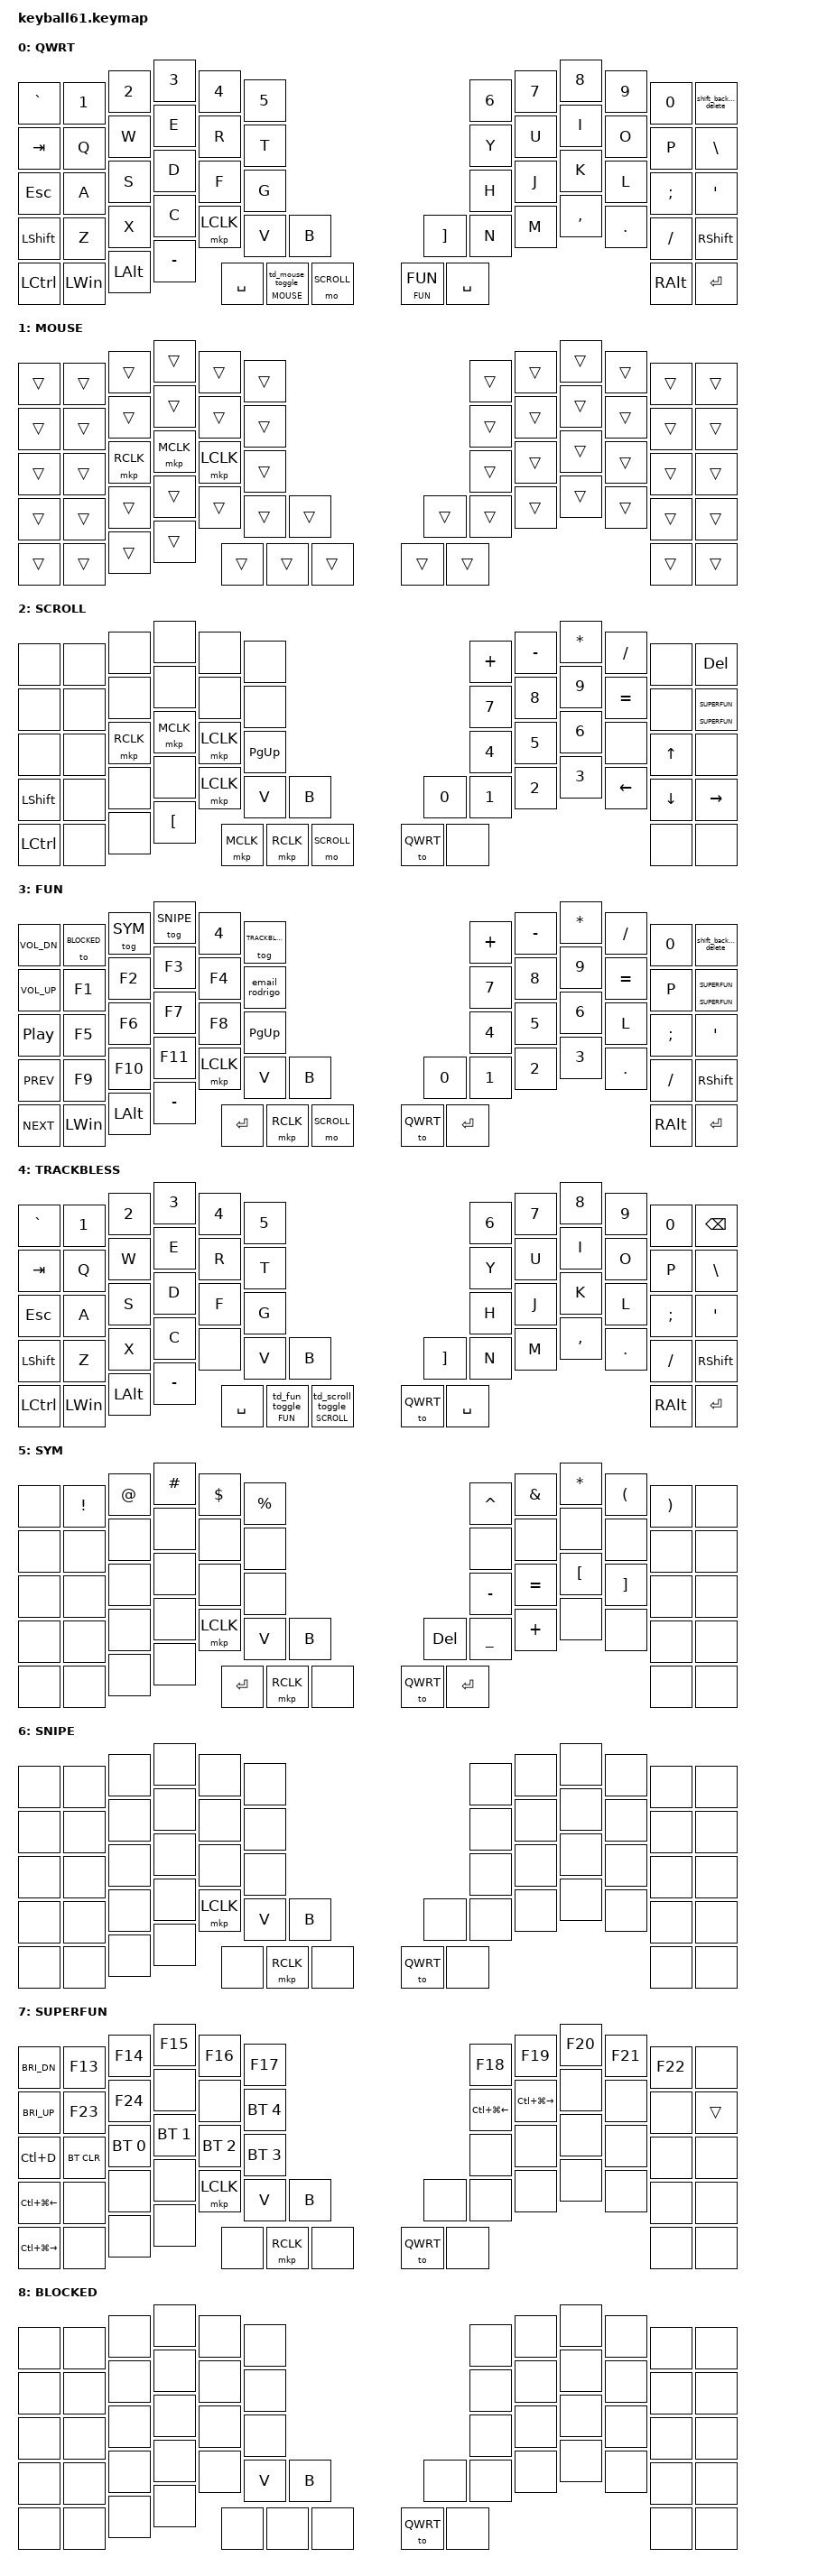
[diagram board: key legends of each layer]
#define QWRT       0
#define MOUSE      1
#define SCROLL     2
#define FUN        3
#define TRACKBLESS 4
#define SYM        5
#define SNIPE      6
#define SUPERFUN   7
#define BLOCKED    8

#include <behaviors/mouse_keys.dtsi>
#include <behaviors.dtsi>
#include <dt-bindings/zmk/bt.h>
#include <dt-bindings/zmk/keys.h>
#include <dt-bindings/zmk/modifiers.h>
#include <dt-bindings/zmk/pointing.h>

&lt {
    tapping-term-ms = <240>;
    flavor = "balanced";
    quick-tap-ms = <150>;
};

&mt {
    tapping-term-ms = <200>;
    flavor = "tap-preferred";
    quick-tap-ms = <150>;
};

/ {
    macros {
        email_rodrigo: email_rodrigo {
            compatible = "zmk,behavior-macro";
            #binding-cells = <0>;
            wait-ms = <40>;
            tap-ms = <40>;
            bindings = <
                &kp R &kp O &kp D &kp R &kp I &kp G &kp O
                &kp DOT
                &kp M
                &kp DOT
                &kp R &kp I &kp V &kp E &kp R &kp O
                &kp N1 &kp N3
                &kp AT_SIGN
                &kp G &kp M &kp A &kp I &kp L
                &kp DOT
                &kp C &kp O &kp M
            >;
        };
    };

    behaviors {
        td_qwrt_sym_toggle: td_qwrt_sym_toggle {
            compatible = "zmk,behavior-tap-dance";
            #binding-cells = <0>;
            tapping-term-ms = <350>;
            bindings = <&to QWRT>, <&tog SYM>;
        };

        td_sym_to_toggle: td_sym_to_toggle {
            compatible = "zmk,behavior-tap-dance";
            #binding-cells = <0>;
            tapping-term-ms = <350>;
            bindings = <&to SYM>, <&tog SYM>;
        };

        td_sym_toggle: td_sym_toggle {
            compatible = "zmk,behavior-tap-dance";
            #binding-cells = <0>;
            tapping-term-ms = <350>;
            bindings = <&none>, <&tog SYM>;
        };

        hold_sym_toggle: hold_sym_toggle {
            compatible = "zmk,behavior-hold-tap";
            #binding-cells = <2>;
            tapping-term-ms = <200>;
            flavor = "hold-preferred";
            bindings = <&mo>, <&td_sym_toggle>;
        };

        td_scroll_toggle: td_scroll_toggle {
            compatible = "zmk,behavior-tap-dance";
            #binding-cells = <0>;
            tapping-term-ms = <350>;
            bindings = <&none>, <&tog SCROLL>;
        };

        hold_scroll_toggle: hold_scroll_toggle {
            compatible = "zmk,behavior-hold-tap";
            #binding-cells = <2>;
            tapping-term-ms = <200>;
            flavor = "hold-preferred";
            bindings = <&mo>, <&td_scroll_toggle>;
        };

        td_fun_toggle: td_fun_toggle {
            compatible = "zmk,behavior-tap-dance";
            #binding-cells = <0>;
            tapping-term-ms = <350>;
            bindings = <&none>, <&tog FUN>;
        };

        hold_fun_toggle: hold_fun_toggle {
            compatible = "zmk,behavior-hold-tap";
            #binding-cells = <2>;
            tapping-term-ms = <200>;
            flavor = "hold-preferred";
            bindings = <&mo>, <&td_fun_toggle>;
        };

        shift_backspace_delete: shift_backspace_delete {
            compatible = "zmk,behavior-mod-morph";
            #binding-cells = <0>;
            bindings = <&kp BSPC>, <&kp DEL>;
            mods = <(MOD_LSFT | MOD_RSFT)>;
        };

        ht_57_fun_toggle: ht_57_fun_toggle {
            compatible = "zmk,behavior-hold-tap";
            #binding-cells = <2>;
            tapping-term-ms = <200>;
            flavor = "hold-preferred";
            bindings = <&mo>, <&tog>;
        };

        ht_superfun_toggle: ht_superfun_toggle {
            compatible = "zmk,behavior-hold-tap";
            #binding-cells = <2>;
            tapping-term-ms = <200>;
            flavor = "hold-preferred";
            bindings = <&mo>, <&tog>;
        };

        td_mouse_toggle: td_mouse_toggle {
            compatible = "zmk,behavior-tap-dance";
            #binding-cells = <0>;
            tapping-term-ms = <500>;
            bindings = <&none>, <&none>, <&tog MOUSE>;
        };

        ht_55_mouse_toggle: ht_55_mouse_toggle {
            compatible = "zmk,behavior-hold-tap";
            #binding-cells = <2>;
            tapping-term-ms = <200>;
            flavor = "hold-preferred";
            bindings = <&mo>, <&td_mouse_toggle>;
        };

        td_blocked_default: td_blocked_default {
            compatible = "zmk,behavior-tap-dance";
            #binding-cells = <0>;
            tapping-term-ms = <350>;
            bindings = <&none>, <&to QWRT>;
        };

    };

    keymap {
        compatible = "zmk,keymap";

        qwrt_layer {
            label = "QWRT";
            bindings = <
&kp GRAVE       &kp N1        &kp N2        &kp N3        &kp N4  &kp N5                                   &kp N6           &kp N7  &kp N8     &kp N9   &kp N0         &shift_backspace_delete
&kp TAB         &kp Q         &kp W         &kp E         &kp R   &kp T                                    &kp Y            &kp U   &kp I      &kp O    &kp P          &kp BACKSLASH
&kp ESC         &kp A         &kp S         &kp D         &kp F   &kp G                                    &kp H            &kp J   &kp K      &kp L    &kp SEMI       &kp SQT
&kp LEFT_SHIFT  &kp Z         &kp X         &kp C         &mkp LCLK  &kp V   &kp B        &kp RIGHT_BRACKET  &kp N            &kp M   &kp COMMA  &kp DOT  &kp FSLH       &kp RIGHT_SHIFT
&kp LCTRL       &kp LEFT_WIN  &kp LEFT_ALT  &kp MINUS     &kp SPACE  &ht_55_mouse_toggle MOUSE 0  &mo SCROLL  &ht_57_fun_toggle FUN FUN  &kp SPACE                  &kp RIGHT_ALT  &kp ENTER
            >;
        };

        mouse_layer {
            label = "MOUSE";
            bindings = <
&trans  &trans  &trans  &trans  &trans  &trans                  &trans  &trans  &trans  &trans  &trans  &trans
&trans  &trans  &trans  &trans  &trans  &trans                  &trans  &trans  &trans  &trans  &trans  &trans
&trans  &trans  &mkp RCLK  &mkp MCLK  &mkp LCLK  &trans        &trans  &trans  &trans  &trans  &trans  &trans
&trans  &trans  &trans  &trans  &trans  &trans  &trans          &trans  &trans  &trans  &trans  &trans  &trans  &trans
&trans  &trans  &trans  &trans  &trans  &trans  &trans  &trans  &trans                  &trans  &trans
            >;
        };

        scroll_layer {
            label = "SCROLL";
            bindings = <
&none  &none  &none  &none  &none  &none                  &kp PLUS  &kp MINUS  &kp ASTERISK  &kp FSLH  &none  &kp DEL
&none  &none  &none  &none  &none  &none                  &kp N7    &kp N8     &kp N9        &kp EQUAL &none  &ht_superfun_toggle SUPERFUN SUPERFUN
&none  &none  &mkp RCLK  &mkp MCLK  &mkp LCLK  &kp PAGE_UP            &kp N4    &kp N5     &kp N6        &none     &kp UP  &none
&kp LEFT_SHIFT  &none  &none  &none  &mkp LCLK  &kp V   &kp B        &kp N0  &kp N1  &kp N2  &kp N3  &kp LEFT  &kp DOWN  &kp RIGHT
&kp LCTRL  &none  &none  &kp LEFT_BRACKET  &mkp MCLK  &mkp RCLK  &mo SCROLL  &to QWRT  &none              &none  &none
            >;
        };

        function_layer {
            label = "FUN";
            bindings = <
&kp C_VOL_DN  &to BLOCKED &tog SYM &tog SNIPE &kp N4  &tog TRACKBLESS                  &kp PLUS  &kp MINUS  &kp ASTERISK  &kp FSLH  &kp N0  &shift_backspace_delete
&kp C_VOL_UP  &kp F1      &kp F2   &kp F3     &kp F4  &email_rodrigo         &kp N7    &kp N8     &kp N9        &kp EQUAL &kp P  &ht_superfun_toggle SUPERFUN SUPERFUN
&kp C_PP      &kp F5      &kp F6   &kp F7     &kp F8  &kp PAGE_UP            &kp N4    &kp N5     &kp N6        &kp L     &kp SEMI  &kp SQT
&kp C_PREV    &kp F9      &kp F10  &kp F11    &mkp LCLK  &kp V   &kp B        &kp N0  &kp N1  &kp N2  &kp N3  &kp DOT  &kp FSLH  &kp RIGHT_SHIFT
&kp C_NEXT    &kp LEFT_WIN &kp LEFT_ALT &kp MINUS &kp ENTER  &mkp RCLK  &mo SCROLL  &to QWRT  &kp ENTER              &kp RIGHT_ALT  &kp ENTER
            >;
        };

        trackbless_layer {
            label = "TRACKBLESS";
            bindings = <
&kp GRAVE       &kp N1        &kp N2        &kp N3        &kp N4  &kp N5                                   &kp N6           &kp N7  &kp N8     &kp N9   &kp N0         &kp BSPC
&kp TAB         &kp Q         &kp W         &kp E         &kp R   &kp T                                    &kp Y            &kp U   &kp I      &kp O    &kp P          &kp BACKSLASH
&kp ESC         &kp A         &kp S         &kp D         &kp F   &kp G                                    &kp H            &kp J   &kp K      &kp L    &kp SEMI       &kp SQT
&kp LEFT_SHIFT  &kp Z         &kp X         &kp C         &none  &kp V   &kp B        &kp RIGHT_BRACKET  &kp N            &kp M   &kp COMMA  &kp DOT  &kp FSLH       &kp RIGHT_SHIFT
&kp LCTRL       &kp LEFT_WIN  &kp LEFT_ALT  &kp MINUS     &kp SPACE  &hold_fun_toggle FUN 0  &hold_scroll_toggle SCROLL 0  &to QWRT  &kp SPACE                  &kp RIGHT_ALT  &kp ENTER
            >;
        };

        symbol_layer {
            label = "SYM";
            bindings = <
&none  &kp EXCLAMATION  &kp AT_SIGN   &kp HASH      &kp DOLLAR    &kp PERCENT                  &kp CARET       &kp AMPERSAND  &kp ASTERISK      &kp LEFT_PARENTHESIS  &kp RIGHT_PARENTHESIS  &none
&none  &none            &none         &none         &none         &none                        &none           &none          &none             &none                 &none                  &none
&none  &none            &none         &none         &none         &none                        &kp MINUS       &kp EQUAL      &kp LEFT_BRACKET  &kp RIGHT_BRACKET     &none                  &none
&none  &none            &none         &none         &mkp LCLK  &kp V   &kp B        &kp DEL   &kp UNDERSCORE  &kp PLUS       &none             &none                 &none                  &none
&none  &none            &none         &none         &kp ENTER  &mkp RCLK  &none  &to QWRT  &kp ENTER                                                            &none                  &none
            >;
        };

        snipe_layer {
            label = "SNIPE";
            bindings = <
&none  &none  &none  &none  &none  &none                  &none  &none  &none  &none  &none  &none
&none  &none  &none  &none  &none  &none                  &none  &none  &none  &none  &none  &none
&none  &none  &none  &none  &none  &none                  &none  &none  &none  &none  &none  &none
&none  &none  &none  &none  &mkp LCLK  &kp V   &kp B        &none  &none  &none  &none  &none  &none  &none
&none  &none  &none  &none  &none  &mkp RCLK  &none  &to QWRT  &none              &none  &none
            >;
        };

        superfun_layer {
            label = "SUPERFUN";
            bindings = <
&kp C_BRI_DN  &kp F13  &kp F14  &kp F15  &kp F16  &kp F17                  &kp F18  &kp F19  &kp F20  &kp F21  &kp F22  &none
&kp C_BRI_UP  &kp F23  &kp F24  &none    &none    &bt BT_SEL 4             &kp LC(LG(LEFT))    &kp LC(LG(RIGHT))    &none    &none    &none    &trans
&kp LC(D)     &bt BT_CLR  &bt BT_SEL 0  &bt BT_SEL 1  &bt BT_SEL 2  &bt BT_SEL 3                &none    &none    &none    &none    &none    &none
&kp LC(LG(LEFT))  &none    &none    &none    &mkp LCLK  &kp V   &kp B        &none  &none  &none  &none  &none  &none  &none
&kp LC(LG(RIGHT)) &none    &none    &none    &none    &mkp RCLK  &none  &to QWRT  &none                  &none  &none
            >;
        };

        blocked_layer {
            label = "BLOCKED";
            bindings = <
&none  &none  &none  &none  &none  &none                  &none  &none  &none  &none  &none  &none
&none  &none  &none  &none  &none  &none                  &none  &none  &none  &none  &none  &none
&none  &none  &none  &none  &none  &none                  &none  &none  &none  &none  &none  &none
&none  &none  &none  &none  &none  &kp V   &kp B        &none  &none  &none  &none  &none  &none  &none
&none  &none  &none  &none  &none  &none  &none  &to QWRT  &none              &none  &none
            >;
        };
    };
};
